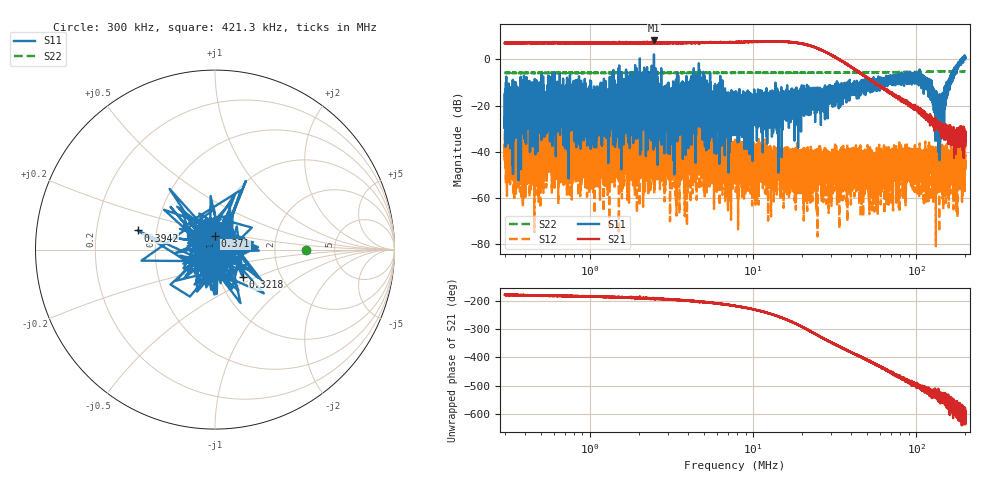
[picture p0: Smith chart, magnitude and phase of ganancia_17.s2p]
# Hz S DB R 50
! CMT, M5065, 19127446, 24.2.4/2
! Date: 11/1/2024 4:24:53 PM
! Data: Format (Calibration Info)
! Freq	S11:dB/Ang(F2)	S21:dB/Ang(F2)	S12:dB/Ang(F2)	S22:dB/Ang(F2)
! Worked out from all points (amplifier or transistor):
!   9000 points, 300 kHz to 200 MHz, reference 50 ohm
!   highest |S21| = 8.2 dB at 2.469 MHz (marker M1)
!   |S21| within 3 dB of that: start of sweep to 23.8 MHz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
!   unconditionally stable (mu >= 1): start of sweep to 2.021 MHz; 2.47 MHz to 187.2 MHz; 187.4 MHz to 190.2 MHz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
!   at 886.8 kHz: K = 27.83, MAG = 8.5 dB, |S12| = -44.8 dB
!   at 7.749 MHz: K = 12.18, MAG = 8.8 dB, |S12| = -37.9 dB
!   at 200 MHz: K = -894.38, MSG = 4.9 dB, |S12| = -45.3 dB
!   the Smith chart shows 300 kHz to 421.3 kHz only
!   S11 on the Smith chart (normalised r, x): 300 kHz: 1.05, -0.10; 321.8 kHz: 1.29, -0.42; 371 kHz: 0.99, +0.15; 394.2 kHz: 0.39, +0.10; 421.3 kHz: 0.81, +0.02
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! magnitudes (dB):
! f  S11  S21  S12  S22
! 300 kHz  -25.1  7.0  -41.4  -5.9
! 321.8 kHz  -13.2  7.0  -34.1  -5.9
! 371 kHz  -22.5  7.1  -46.2  -5.9
! 394.2 kHz  -7.1  7.4  -43.0  -5.9
! 421.3 kHz  -19.6  7.1  -40.5  -5.9
! 495.3 kHz  -19.4  7.1  -47.0  -5.9
! 539.8 kHz  -26.7  7.1  -42.5  -5.9
! 660.9 kHz  -15.1  6.9  -52.5  -5.9
! 886.8 kHz  -17.3  7.2  -44.8  -5.9
! 2.469 MHz  2.2  8.2  -46.8  -5.9
! 2.621 MHz  -23.7  7.1  -30.9  -5.8
! 3.917 MHz  -25.8  7.1  -40.9  -5.8
! 4.646 MHz  -17.7  7.1  -31.2  -6.0
! 5.166 MHz  -28.6  7.2  -37.9  -5.9
! 7.749 MHz  -19.1  7.5  -37.9  -5.9
! 22.91 MHz  -18.8  5.6  -47.4  -5.8
! 67.71 MHz  -8.0  -14.2  -47.5  -5.6
! 107.4 MHz  -9.3  -24.0  -42.7  -5.5
! 123.8 MHz  -10.7  -26.4  -40.8  -5.3
! 138.4 MHz  -25.8  -29.1  -37.4  -5.2
! 162 MHz  -7.2  -31.9  -44.1  -5.2
! 200 MHz  0.9  -35.6  -45.3  -5.3
